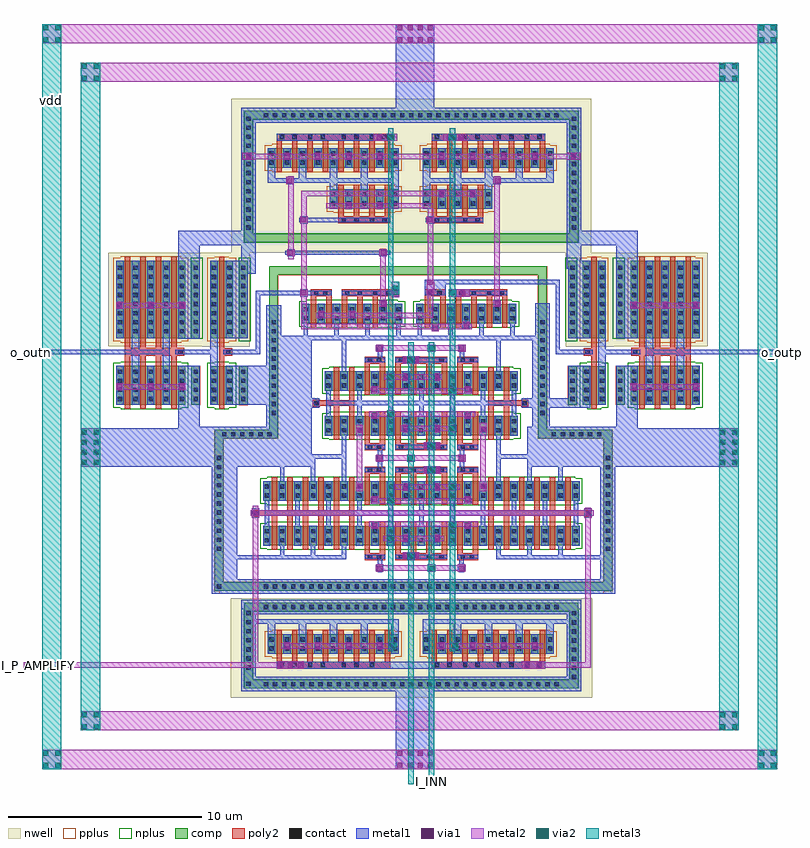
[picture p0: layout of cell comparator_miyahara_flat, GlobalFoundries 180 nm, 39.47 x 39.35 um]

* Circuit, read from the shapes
.subckt comparator_miyahara_flat I_INN I_INP I_P_AMPLIFY gf180mcu_gnd o_outn o_outp vdd
XM1 o_outn n1 gf180mcu_gnd gf180mcu_gnd nfet_03v3 w=2u l=0.28u m=4
XM2 gf180mcu_gnd n2 n1 gf180mcu_gnd nfet_03v3 w=2u l=0.28u
XM3 gf180mcu_gnd I_P_AMPLIFY n3 gf180mcu_gnd nfet_03v3 w=1u l=0.28u m=24
XM4 n4 n2 gf180mcu_gnd gf180mcu_gnd nfet_03v3 w=1u l=0.28u m=2
XM5 gf180mcu_gnd gf180mcu_gnd n3 gf180mcu_gnd nfet_03v3 w=1u l=0.28u m=8
XM6 n4 n5 gf180mcu_gnd gf180mcu_gnd nfet_03v3 w=1u l=0.28u m=2
XM7 n6 I_INN n3 gf180mcu_gnd nfet_03v3 w=1u l=0.28u m=16
XM8 n5 I_INP n3 gf180mcu_gnd nfet_03v3 w=1u l=0.28u m=16
XM9 n7 n5 gf180mcu_gnd gf180mcu_gnd nfet_03v3 w=1u l=0.28u m=2
XM10 n2 n4 gf180mcu_gnd gf180mcu_gnd nfet_03v3 w=1u l=0.28u m=2
XM11 n2 n6 gf180mcu_gnd gf180mcu_gnd nfet_03v3 w=1u l=0.28u m=2
XM12 n8 n6 gf180mcu_gnd gf180mcu_gnd nfet_03v3 w=1u l=0.28u m=2
XM13 n9 n4 gf180mcu_gnd gf180mcu_gnd nfet_03v3 w=2u l=0.28u
XM14 o_outp n9 gf180mcu_gnd gf180mcu_gnd nfet_03v3 w=2u l=0.28u m=4
XM15 o_outn n1 vdd vdd pfet_03v3 w=4u l=0.28u m=4
XM16 vdd n2 n1 vdd pfet_03v3 w=4u l=0.28u
XM17 n5 I_P_AMPLIFY vdd vdd pfet_03v3 w=1u l=0.28u m=8
XM18 vdd n5 n7 vdd pfet_03v3 w=1u l=0.28u m=8
XM19 n4 n2 n7 vdd pfet_03v3 w=1u l=0.28u m=4
XM20 n6 I_P_AMPLIFY vdd vdd pfet_03v3 w=1u l=0.28u m=8
XM21 n2 n4 n8 vdd pfet_03v3 w=1u l=0.28u m=4
XM22 vdd n6 n8 vdd pfet_03v3 w=1u l=0.28u m=8
XM23 n9 n4 vdd vdd pfet_03v3 w=4u l=0.28u
XM24 o_outp n9 vdd vdd pfet_03v3 w=4u l=0.28u m=4
.ends

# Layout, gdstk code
import gdstk
lib = gdstk.Library(unit=1e-6, precision=1e-09)
def R(c, l, rs):  # rectangles x0, y0, x1, y1
    for r in rs: c.add(gdstk.rectangle(r[:2], r[2:], *l))
def A(c, l, x, y, w, h, nx, ny, dx, dy):  # array of equal rectangles
    R(c, l, [(x+i*dx, y+j*dy, x+i*dx+w, y+j*dy+h) for i in range(nx) for j in range(ny)])
nwell = (21, 0)
comp = (22, 0)
poly2 = (30, 0)
pplus = (31, 0)
nplus = (32, 0)
contact = (33, 0)
metal1 = (34, 0)
via1 = (35, 0)
metal2 = (36, 0)
via2 = (38, 0)
metal3 = (42, 0)

comparator_miyahara_flat = lib.new_cell('comparator_miyahara_flat')
R(comparator_miyahara_flat, nwell, [(-13.295,-8.39,5.43,-3.22), (-14.765,9.8,-12.295,9.805), (4.07,9.8,6.54,9.805), (-19.635,9.805,-12.295,14.66), (4.07,9.805,11.41,14.66), (-19.635,14.66,-14.765,14.665), (-13.26,14.66,5.38,22.625), (6.54,14.66,11.41,14.665)])
R(comparator_miyahara_flat, comp, [(-12.59,-7.885,4.7,-7.445), (-12.59,-7.445,-12.15,-3.905), (4.26,-7.445,4.7,-3.905), (-11.355,-6.105,-4.595,-5.105), (-3.33,-6.105,3.43,-5.105), (-12.59,-3.905,4.7,-3.465), (-14.115,-2.84,6.465,-2.4), (-14.115,-2.4,-13.675,5.04), (6.025,-2.4,6.465,5.04), (-11.6,-0.5,4.76,0.5), (-11.6,1.82,4.76,2.82), (-14.115,5.04,-10.845,5.48), (2.63,5.04,6.465,5.48), (-8.4,5.195,1.56,6.195), (-11.285,5.48,-10.845,13.505), (2.63,5.48,3.07,13.505), (-14.335,6.79,-13.175,8.79), (-12.855,6.79,-12.415,8.79), (4.19,6.79,4.63,8.79), (4.95,6.79,6.11,8.79), (-19.205,6.795,-15.645,8.795), (-15.325,6.795,-14.885,8.795), (6.66,6.795,7.1,8.795), (7.42,6.795,10.98,8.795), (-8.4,7.515,1.56,8.515), (-14.335,10.23,-13.175,14.23), (-12.855,10.23,-12.415,14.23), (4.19,10.23,4.63,14.23), (4.95,10.23,6.11,14.23), (-19.205,10.235,-15.645,14.235), (-15.325,10.235,-14.885,14.235), (6.66,10.235,7.1,14.235), (7.42,10.235,10.98,14.235), (-9.585,10.995,-4.425,11.995), (-3.68,10.995,1.48,11.995), (-11.285,13.505,3.07,13.945), (-12.59,15.205,4.7,15.645), (-12.59,15.645,-12.15,21.56), (4.26,15.645,4.7,21.56), (-8.155,16.945,-4.595,17.945), (-3.33,16.945,0.23,17.945), (-11.355,19.06,-4.595,20.06), (-3.33,19.06,3.43,20.06), (-12.59,21.56,4.7,22)])
A(comparator_miyahara_flat, poly2, -10.915, -6.51, 0.28, 1.625, 8, 2, 0.8, 25.35)
A(comparator_miyahara_flat, poly2, -2.89, -6.51, 0.28, 1.625, 8, 2, 0.8, 25.35)
A(comparator_miyahara_flat, poly2, -6.36, -0.905, 0.28, 1.625, 8, 2, 0.8, 2.505)
A(comparator_miyahara_flat, poly2, -11.16, -0.72, 0.28, 1.755, 6, 1, 0.8, 0)
A(comparator_miyahara_flat, poly2, 0.04, -0.72, 0.28, 1.755, 6, 1, 0.8, 0)
A(comparator_miyahara_flat, poly2, -11.16, 1.315, 0.28, 1.725, 6, 1, 0.8, 0)
A(comparator_miyahara_flat, poly2, 0.04, 1.315, 0.28, 1.725, 6, 1, 0.8, 0)
A(comparator_miyahara_flat, poly2, -6.36, 4.79, 0.28, 1.625, 8, 2, 0.8, 2.505)
A(comparator_miyahara_flat, poly2, -18.765, 6.575, 0.28, 2.75, 4, 1, 0.8, 0)
A(comparator_miyahara_flat, poly2, 7.86, 6.575, 0.28, 2.75, 4, 1, 0.8, 0)
A(comparator_miyahara_flat, poly2, -18.765, 9.725, 0.28, 4.73, 4, 1, 0.8, 0)
A(comparator_miyahara_flat, poly2, 7.86, 9.725, 0.28, 4.73, 4, 1, 0.8, 0)
A(comparator_miyahara_flat, poly2, -9.145, 10.775, 0.28, 1.625, 6, 1, 0.8, 0)
A(comparator_miyahara_flat, poly2, -3.24, 10.775, 0.28, 1.625, 6, 1, 0.8, 0)
A(comparator_miyahara_flat, poly2, -7.715, 16.54, 0.28, 1.625, 4, 1, 0.8, 0)
A(comparator_miyahara_flat, poly2, -2.89, 16.54, 0.28, 1.625, 4, 1, 0.8, 0)
R(comparator_miyahara_flat, poly2, [(-10.915,-6.87,-5.035,-6.51), (-2.89,-6.87,2.99,-6.51), (-6.36,-1.265,-5.28,-0.905), (-4.76,-1.265,-2.08,-0.905), (-1.56,-1.265,-0.48,-0.905), (-12.18,0.995,-11.82,1.035), (5.035,0.995,5.395,1.035), (-12.18,1.035,-6.88,1.315), (0.04,1.035,5.395,1.315), (-12.18,1.315,-11.82,1.355), (5.035,1.315,5.395,1.355), (-6.36,3.225,-5.28,3.585), (-4.76,3.225,-2.08,3.585), (-1.56,3.225,-0.48,3.585), (-6.36,4.43,-5.28,4.79), (-4.76,4.43,-2.08,4.79), (-1.56,4.43,-0.48,4.79), (-7.96,4.975,-7.68,6.73), (-7.16,4.975,-6.88,6.73), (0.04,4.975,0.32,6.73), (0.84,4.975,1.12,6.73), (-13.895,6.57,-13.615,9.32), (5.39,6.57,5.67,9.32), (-9.04,6.69,-8.68,6.73), (1.76,6.69,2.12,6.73), (-9.04,6.73,-6.88,7.01), (0.04,6.73,2.12,7.01), (-9.04,7.01,-8.68,7.05), (-7.96,7.01,-7.68,8.735), (-7.16,7.01,-6.88,8.735), (0.04,7.01,0.32,8.735), (0.84,7.01,1.12,8.735), (1.76,7.01,2.12,7.05), (-6.36,8.92,-5.28,9.28), (-4.76,8.92,-2.08,9.28), (-1.56,8.92,-0.48,9.28), (-13.895,9.32,-13.215,9.72), (4.99,9.32,5.67,9.72), (-18.765,9.325,-15.685,9.725), (7.46,9.325,10.54,9.725), (-13.895,9.72,-13.615,14.45), (5.39,9.72,5.67,14.45), (-9.145,12.4,-8.065,12.76), (-7.545,12.4,-4.865,12.76), (-3.24,12.4,-2.16,12.76), (-1.64,12.4,1.04,12.76), (-7.715,16.18,-5.035,16.54), (-2.89,16.18,-0.21,16.54), (-10.915,20.465,-5.035,20.825), (-2.89,20.465,2.99,20.825)])
R(comparator_miyahara_flat, pplus, [(-11.145,-6.335,-4.805,-6.265), (-3.12,-6.335,3.22,-6.265), (-11.515,-6.265,-4.435,-4.945), (-3.49,-6.265,3.59,-4.945), (-11.145,-4.945,-4.805,-4.875), (-3.12,-4.945,3.22,-4.875), (-13.885,-3,6.02,-2.86), (-14.135,-2.86,6.485,-2.38), (-14.135,-2.38,-13.655,5.02), (6.005,-2.38,6.485,5.02), (-14.135,5.02,-10.825,5.5), (2.61,5.02,6.485,5.5), (-11.305,5.5,-10.825,13.485), (2.61,5.5,3.09,13.485), (-12.875,6.77,-12.395,8.81), (4.17,6.77,4.65,8.81), (-15.345,6.775,-14.865,8.815), (6.64,6.775,7.12,8.815), (-14.125,10,-13.385,10.07), (5.16,10,5.9,10.07), (-18.995,10.005,-15.855,10.075), (7.63,10.005,10.77,10.075), (-14.495,10.07,-13.015,14.39), (4.79,10.07,6.27,14.39), (-19.365,10.075,-15.485,14.395), (7.26,10.075,11.14,14.395), (-11.305,13.485,3.09,13.965), (-14.125,14.39,-13.385,14.46), (5.16,14.39,5.9,14.46), (-18.995,14.395,-15.855,14.465), (7.63,14.395,10.77,14.465), (-7.945,16.715,-4.805,16.785), (-3.12,16.715,0.02,16.785), (-8.315,16.785,-4.435,18.105), (-3.49,16.785,0.39,18.105), (-7.945,18.105,-4.805,18.175), (-3.12,18.105,0.02,18.175), (-11.145,18.83,-4.805,18.9), (-3.12,18.83,3.22,18.9), (-11.515,18.9,-4.435,20.22), (-3.49,18.9,3.59,20.22), (-11.145,20.22,-4.805,20.29), (-3.12,20.22,3.22,20.29)])
R(comparator_miyahara_flat, nplus, [(-12.61,-7.905,4.72,-7.425), (-12.61,-7.425,-12.13,-3.925), (4.24,-7.425,4.72,-3.925), (-12.61,-3.925,4.72,-3.81), (-12.75,-3.81,4.86,-3.305), (-11.39,-0.73,4.55,-0.66), (-11.76,-0.66,4.92,0.66), (-11.39,0.66,4.55,0.73), (-11.39,1.59,4.55,1.66), (-11.76,1.66,4.92,2.98), (-11.39,2.98,4.55,3.05), (-8.19,4.965,1.35,5.035), (-8.56,5.035,1.72,6.355), (-8.19,6.355,1.35,6.425), (-14.125,6.56,-13.385,6.63), (5.16,6.56,5.9,6.63), (-18.995,6.565,-15.855,6.635), (7.63,6.565,10.77,6.635), (-14.495,6.63,-13.015,8.95), (4.79,6.63,6.27,8.95), (-19.365,6.635,-15.485,8.955), (7.26,6.635,11.14,8.955), (-8.19,7.285,1.35,7.355), (-8.56,7.355,1.72,8.675), (-8.19,8.675,1.35,8.745), (-14.125,8.95,-13.385,9.02), (5.16,8.95,5.9,9.02), (-18.995,8.955,-15.855,9.025), (7.63,8.955,10.77,9.025), (-12.885,10.07,-12.255,14.39), (4.03,10.07,4.66,14.39), (6.5,10.21,7.12,14.07), (-15.35,10.215,-14.725,14.07), (-9.375,10.765,-4.635,10.835), (-3.47,10.765,1.27,10.835), (-9.745,10.835,-4.265,12.155), (-3.84,10.835,1.64,12.155), (-9.375,12.155,-4.635,12.225), (-3.47,12.155,1.27,12.225), (-15.35,14.07,-14.725,14.395), (6.5,14.07,7.12,14.395), (-12.61,15.185,4.72,15.665), (-12.61,15.665,-12.13,21.54), (4.24,15.665,4.72,21.54), (-12.61,21.54,4.72,22.02)])
A(comparator_miyahara_flat, contact, -11.57, -7.79, 0.22, 0.22, 33, 2, 0.47, 3.99)
A(comparator_miyahara_flat, contact, 4.37, -7.415, 0.22, 0.22, 1, 8, 0, 0.47)
A(comparator_miyahara_flat, contact, -12.48, -6.93, 0.22, 0.22, 1, 7, 0, 0.47)
A(comparator_miyahara_flat, contact, -11.285, -5.95, 0.22, 0.22, 9, 2, 0.8, 0.47)
A(comparator_miyahara_flat, contact, -3.26, -5.95, 0.22, 0.22, 9, 2, 0.8, 0.47)
A(comparator_miyahara_flat, contact, -11.57, -2.73, 0.22, 0.22, 33, 2, 0.47, 24.4)
A(comparator_miyahara_flat, contact, -14.01, -0.785, 0.22, 0.22, 1, 11, 0, 0.47)
A(comparator_miyahara_flat, contact, 6.135, -0.785, 0.22, 0.22, 1, 11, 0, 0.47)
A(comparator_miyahara_flat, contact, -11.53, -0.345, 0.22, 0.22, 21, 2, 0.8, 0.47)
A(comparator_miyahara_flat, contact, -11.53, 1.975, 0.22, 0.22, 21, 2, 0.8, 0.47)
A(comparator_miyahara_flat, contact, -13.74, 5.145, 0.22, 0.22, 6, 1, 0.47, 0)
A(comparator_miyahara_flat, contact, 3.33, 5.145, 0.22, 0.22, 6, 1, 0.47, 0)
A(comparator_miyahara_flat, contact, -8.33, 5.35, 0.22, 0.22, 13, 2, 0.8, 0.47)
A(comparator_miyahara_flat, contact, -11.165, 6.25, 0.22, 0.22, 1, 11, 0, 0.47)
A(comparator_miyahara_flat, contact, 2.74, 6.25, 0.22, 0.22, 1, 11, 0, 0.47)
A(comparator_miyahara_flat, contact, -14.265, 6.975, 0.22, 0.22, 1, 4, 0, 0.47)
A(comparator_miyahara_flat, contact, -13.465, 6.975, 0.22, 0.22, 1, 4, 0, 0.47)
A(comparator_miyahara_flat, contact, -12.745, 6.975, 0.22, 0.22, 1, 4, 0, 0.47)
A(comparator_miyahara_flat, contact, 4.3, 6.975, 0.22, 0.22, 1, 4, 0, 0.47)
A(comparator_miyahara_flat, contact, 5.02, 6.975, 0.22, 0.22, 1, 4, 0, 0.47)
A(comparator_miyahara_flat, contact, 5.82, 6.975, 0.22, 0.22, 1, 4, 0, 0.47)
A(comparator_miyahara_flat, contact, -19.135, 6.98, 0.22, 0.22, 5, 4, 0.8, 0.47)
A(comparator_miyahara_flat, contact, -15.215, 6.98, 0.22, 0.22, 1, 4, 0, 0.47)
A(comparator_miyahara_flat, contact, 6.77, 6.98, 0.22, 0.22, 1, 4, 0, 0.47)
A(comparator_miyahara_flat, contact, 7.49, 6.98, 0.22, 0.22, 5, 4, 0.8, 0.47)
A(comparator_miyahara_flat, contact, -8.33, 7.67, 0.22, 0.22, 13, 2, 0.8, 0.47)
A(comparator_miyahara_flat, contact, -14.265, 10.475, 0.22, 0.22, 1, 8, 0, 0.47)
A(comparator_miyahara_flat, contact, -13.465, 10.475, 0.22, 0.22, 1, 8, 0, 0.47)
A(comparator_miyahara_flat, contact, -12.745, 10.475, 0.22, 0.22, 1, 8, 0, 0.47)
A(comparator_miyahara_flat, contact, 4.3, 10.475, 0.22, 0.22, 1, 8, 0, 0.47)
A(comparator_miyahara_flat, contact, 5.02, 10.475, 0.22, 0.22, 1, 8, 0, 0.47)
A(comparator_miyahara_flat, contact, 5.82, 10.475, 0.22, 0.22, 1, 8, 0, 0.47)
A(comparator_miyahara_flat, contact, -19.135, 10.48, 0.22, 0.22, 5, 8, 0.8, 0.47)
A(comparator_miyahara_flat, contact, -15.215, 10.48, 0.22, 0.22, 1, 8, 0, 0.47)
A(comparator_miyahara_flat, contact, 6.77, 10.48, 0.22, 0.22, 1, 8, 0, 0.47)
A(comparator_miyahara_flat, contact, 7.49, 10.48, 0.22, 0.22, 5, 8, 0.8, 0.47)
A(comparator_miyahara_flat, contact, -9.515, 11.15, 0.22, 0.22, 7, 2, 0.8, 0.47)
A(comparator_miyahara_flat, contact, -3.61, 11.15, 0.22, 0.22, 7, 2, 0.8, 0.47)
A(comparator_miyahara_flat, contact, -12.48, 15.85, 0.22, 0.22, 1, 13, 0, 0.47)
A(comparator_miyahara_flat, contact, 4.375, 15.85, 0.22, 0.22, 1, 13, 0, 0.47)
A(comparator_miyahara_flat, contact, -8.085, 17.1, 0.22, 0.22, 5, 2, 0.8, 0.47)
A(comparator_miyahara_flat, contact, -3.26, 17.1, 0.22, 0.22, 5, 2, 0.8, 0.47)
A(comparator_miyahara_flat, contact, -11.285, 19.215, 0.22, 0.22, 9, 2, 0.8, 0.47)
A(comparator_miyahara_flat, contact, -3.26, 19.215, 0.22, 0.22, 9, 2, 0.8, 0.47)
R(comparator_miyahara_flat, contact, [(-12.48,-7.775,-12.26,-7.555), (-10.74,-6.8,-10.52,-6.58), (-10.09,-6.8,-9.87,-6.58), (-9.285,-6.8,-9.065,-6.58), (-8.64,-6.8,-8.42,-6.58), (-7.54,-6.8,-7.32,-6.58), (-6.89,-6.8,-6.67,-6.58), (-6.085,-6.8,-5.865,-6.58), (-2.715,-6.8,-2.495,-6.58), (-2.065,-6.8,-1.845,-6.58), (-1.26,-6.8,-1.04,-6.58), (-0.615,-6.8,-0.395,-6.58), (0.485,-6.8,0.705,-6.58), (1.135,-6.8,1.355,-6.58), (1.94,-6.8,2.16,-6.58), (2.585,-6.8,2.805,-6.58), (-14.005,-2.73,-13.785,-2.51), (-6.185,-1.195,-5.965,-0.975), (-5.715,-1.195,-5.495,-0.975), (-4.585,-1.195,-4.365,-0.975), (-3.935,-1.195,-3.715,-0.975), (-3.13,-1.195,-2.91,-0.975), (-2.485,-1.195,-2.265,-0.975), (-1.385,-1.195,-1.165,-0.975), (-0.915,-1.195,-0.695,-0.975), (-12.11,1.065,-11.89,1.285), (5.105,1.065,5.325,1.285), (-6.185,3.295,-5.965,3.515), (-5.715,3.295,-5.495,3.515), (-4.585,3.295,-4.365,3.515), (-3.935,3.295,-3.715,3.515), (-3.13,3.295,-2.91,3.515), (-2.485,3.295,-2.265,3.515), (-1.385,3.295,-1.165,3.515), (-0.915,3.295,-0.695,3.515), (-6.185,4.5,-5.965,4.72), (-5.715,4.5,-5.495,4.72), (-4.585,4.5,-4.365,4.72), (-3.13,4.5,-2.91,4.72), (-2.485,4.5,-2.265,4.72), (-1.385,4.5,-1.165,4.72), (-0.915,4.5,-0.695,4.72), (-8.97,6.76,-8.75,6.98), (1.83,6.76,2.05,6.98), (-6.185,8.99,-5.965,9.21), (-5.715,8.99,-5.495,9.21), (-4.585,8.99,-4.365,9.21), (-3.935,8.99,-3.715,9.21), (-2.485,8.99,-2.265,9.21), (-1.385,8.99,-1.165,9.21), (-0.915,8.99,-0.695,9.21), (-13.525,9.41,-13.305,9.63), (5.08,9.41,5.3,9.63), (-15.995,9.415,-15.775,9.635), (7.55,9.415,7.77,9.635), (-8.97,12.47,-8.75,12.69), (-8.5,12.47,-8.28,12.69), (-7.37,12.47,-7.15,12.69), (-6.72,12.47,-6.5,12.69), (-5.915,12.47,-5.695,12.69), (-5.27,12.47,-5.05,12.69), (-3.065,12.47,-2.845,12.69), (-2.595,12.47,-2.375,12.69), (-1.465,12.47,-1.245,12.69), (-0.815,12.47,-0.595,12.69), (-0.01,12.47,0.21,12.69), (0.635,12.47,0.855,12.69), (-7.54,16.25,-7.32,16.47), (-6.89,16.25,-6.67,16.47), (-6.085,16.25,-5.865,16.47), (-5.44,16.25,-5.22,16.47), (-2.715,16.25,-2.495,16.47), (-2.065,16.25,-1.845,16.47), (-1.26,16.25,-1.04,16.47), (-0.615,16.25,-0.395,16.47), (-10.74,20.535,-10.52,20.755), (-10.09,20.535,-9.87,20.755), (-9.285,20.535,-9.065,20.755), (-8.64,20.535,-8.42,20.755), (-7.54,20.535,-7.32,20.755), (-6.89,20.535,-6.67,20.755), (-6.085,20.535,-5.865,20.755), (-5.44,20.535,-5.22,20.755), (-2.715,20.535,-2.495,20.755), (-2.065,20.535,-1.845,20.755), (-1.26,20.535,-1.04,20.755), (-0.615,20.535,-0.395,20.755), (0.485,20.535,0.705,20.755), (1.135,20.535,1.355,20.755), (1.94,20.535,2.16,20.755), (2.585,20.535,2.805,20.755)])
A(comparator_miyahara_flat, metal1, -11.365, -6.115, 0.38, 1.56, 5, 2, 1.6, 24.625)
A(comparator_miyahara_flat, metal1, -10.565, -6.115, 0.38, 1.02, 4, 2, 1.6, 25.165)
A(comparator_miyahara_flat, metal1, -3.34, -6.115, 0.38, 1.56, 5, 1, 1.6, 0)
A(comparator_miyahara_flat, metal1, -2.54, -6.115, 0.38, 1.02, 4, 2, 1.6, 25.165)
A(comparator_miyahara_flat, metal1, -5.76, -1.865, 0.38, 0.38, 1, 3, 0, 5.695)
A(comparator_miyahara_flat, metal1, -10.735, -0.995, 0.23, 0.485, 3, 1, 1.6, 0)
A(comparator_miyahara_flat, metal1, 0.465, -0.995, 0.23, 0.485, 3, 1, 1.6, 0)
A(comparator_miyahara_flat, metal1, -11.61, -0.51, 0.38, 1.02, 7, 2, 0.8, 2.32)
A(comparator_miyahara_flat, metal1, -5.21, -0.51, 0.38, 1.02, 5, 2, 0.8, 2.32)
A(comparator_miyahara_flat, metal1, -0.41, -0.51, 0.38, 1.02, 7, 2, 0.8, 2.32)
A(comparator_miyahara_flat, metal1, -11.535, 0.51, 0.23, 0.565, 11, 1, 1.6, 0)
A(comparator_miyahara_flat, metal1, -11.535, 1.305, 0.23, 0.505, 11, 1, 1.6, 0)
A(comparator_miyahara_flat, metal1, -8.41, 5.185, 0.38, 1.02, 3, 2, 0.8, 2.32)
A(comparator_miyahara_flat, metal1, -5.21, 5.185, 0.38, 1.02, 5, 2, 0.8, 2.32)
A(comparator_miyahara_flat, metal1, -0.41, 5.185, 0.38, 1.02, 3, 2, 0.8, 2.32)
A(comparator_miyahara_flat, metal1, -8.335, 6.205, 0.23, 0.565, 7, 1, 1.6, 0)
A(comparator_miyahara_flat, metal1, -8.335, 7, 0.23, 0.505, 7, 1, 1.6, 0)
A(comparator_miyahara_flat, metal1, -9.52, 10.365, 0.23, 0.62, 4, 1, 1.6, 0)
A(comparator_miyahara_flat, metal1, -3.615, 10.365, 0.23, 0.62, 4, 1, 1.6, 0)
A(comparator_miyahara_flat, metal1, -9.595, 10.985, 0.38, 1.02, 5, 1, 0.8, 0)
A(comparator_miyahara_flat, metal1, -3.69, 10.985, 0.38, 1.02, 4, 1, 1.6, 0)
A(comparator_miyahara_flat, metal1, -8.165, 16.935, 0.38, 1.345, 3, 1, 1.6, 0)
R(comparator_miyahara_flat, metal1, [(-4.745,-12.075,-2.745,-8.045), (-12.75,-8.045,4.86,-7.285), (-12.75,-7.285,-11.99,-4.555), (4.1,-7.285,4.86,-4.555), (-10.915,-6.87,2.99,-6.51), (-12.75,-4.555,-4.585,-4.325), (-3.34,-4.555,4.86,-4.325), (-12.75,-4.325,-11.99,-4.065), (4.1,-4.325,4.86,-4.065), (-12.75,-4.065,4.86,-3.305), (-14.275,-3,6.625,-2.24), (-14.275,-2.24,-12.94,-1.225), (5.835,-2.24,6.625,-1.225), (-5.685,-1.89,-5.455,-1.865), (-1.45,-1.875,-1.22,-1.865), (-1.525,-1.865,-1.145,-1.485), (-5.685,-1.485,-5.455,-1.2), (-1.45,-1.485,-1.22,-1.2), (-14.275,-1.225,-7.305,-0.995), (-4.37,-1.225,-3.52,-1.2), (0.465,-1.225,6.625,-0.995), (-6.36,-1.2,-5.28,-0.97), (-4.76,-1.2,-2.08,-0.97), (-1.56,-1.2,-0.48,-0.97), (-14.275,-0.995,-12.94,3.585), (5.835,-0.995,6.625,3.58), (-4.37,-0.97,-3.52,-0.845), (-6.01,-0.51,-5.63,0.745), (-1.21,-0.51,-0.83,0.745), (-12.19,0.925,-11.81,1.425), (5.025,0.925,5.405,1.425), (-11.535,1.075,4.695,1.305), (-6.01,1.67,-5.63,2.83), (-1.21,1.67,-0.83,2.83), (-10.735,2.83,-10.505,3.585), (-9.135,2.83,-8.905,3.585), (-7.535,2.83,-7.305,4), (0.465,2.83,0.695,4), (2.065,2.83,2.295,3.58), (3.665,2.83,3.895,3.58), (-3.295,3.215,-2.445,3.29), (-6.36,3.29,-5.28,3.52), (-4.76,3.29,-2.08,3.52), (-1.56,3.29,-0.48,3.52), (-5.685,3.52,-5.455,3.83), (-3.295,3.52,-2.445,3.595), (-1.43,3.52,-1.2,3.83), (-21.055,3.58,-15.285,3.585), (2.065,3.58,13.005,4), (-21.055,3.585,-8.905,4), (-1.505,3.83,-1.125,4.21), (-21.055,4,-7.305,4.23), (0.465,4,13.005,4.23), (-5.685,4.21,-5.455,4.495), (-1.43,4.21,-1.2,4.495), (-21.055,4.23,-9.095,5.58), (-7.535,4.23,-7.305,5.185), (0.465,4.23,0.695,5.185), (2.065,4.23,13.005,5.58), (-3.295,4.47,-2.445,4.495), (-6.36,4.495,-5.28,4.725), (-4.76,4.495,-2.08,4.725), (-1.56,4.495,-0.48,4.725), (-3.295,4.725,-2.445,4.85), (-6.01,5.185,-5.63,6.44), (-1.21,5.185,-0.83,6.44), (-16.015,5.58,-9.095,5.64), (2.065,5.58,7.79,5.64), (-16.015,5.64,-14.885,8.805), (-11.445,5.64,-9.095,6.62), (2.315,5.64,3.23,6.62), (6.66,5.64,7.79,8.805), (-11.445,6.62,-8.71,6.78), (1.79,6.62,5.32,7.12), (-8.335,6.77,1.495,7), (-14.345,6.78,-13.965,9.41), (-13.545,6.78,-8.71,7.12), (5.74,6.78,6.12,9.41), (-19.215,6.785,-18.835,8.805), (-18.415,6.785,-18.035,9.41), (-17.615,6.785,-17.235,8.805), (-16.815,6.785,-16.435,9.41), (8.21,6.785,8.59,9.41), (9.01,6.785,9.39,8.805), (9.81,6.785,10.19,9.41), (10.61,6.785,10.99,8.805), (-13.545,7.12,-9.095,8.8), (2.315,7.12,3.23,10.135), (4.19,7.12,5.32,8.8), (-6.01,7.365,-5.63,8.525), (-1.21,7.365,-0.83,8.525), (-7.535,8.525,-7.305,10.135), (0.465,8.525,0.695,10.135), (-11.445,8.8,-9.095,10.135), (-4.37,8.91,-3.52,8.985), (-6.36,8.985,-5.28,9.215), (-4.76,8.985,-2.08,9.215), (-1.56,8.985,-0.48,9.215), (-5.685,9.215,-5.455,9.525), (-4.37,9.215,-3.52,9.29), (-1.43,9.215,-1.2,9.525), (-13.535,9.4,-13.295,9.405), (5.07,9.4,5.31,9.405), (-16.005,9.405,-15.765,9.41), (-13.68,9.405,-11.755,9.635), (3.53,9.405,5.455,9.635), (7.54,9.405,7.78,9.41), (-24,9.41,-16.435,9.64), (-16.15,9.41,-13.965,9.64), (5.74,9.41,7.925,9.64), (8.21,9.41,15.47,9.64), (-1.505,9.525,-1.125,9.905), (-13.535,9.635,-13.295,9.64), (-11.985,9.635,-11.755,12.465), (3.53,9.635,3.76,13.035), (5.07,9.635,5.31,9.64), (-18.415,9.64,-18.035,14.245), (-16.815,9.64,-16.435,14.245), (-16.005,9.64,-15.765,9.645), (-14.345,9.64,-13.965,14.24), (5.74,9.64,6.12,14.24), (7.54,9.64,7.78,9.645), (8.21,9.64,8.59,14.245), (9.81,9.64,10.19,14.245), (-11.445,10.135,3.23,10.365), (-16.015,10.21,-14.885,15.045), (-13.545,10.22,-12.415,13.565), (4.19,10.22,5.32,13.835), (-19.215,10.225,-18.835,14.245), (-17.615,10.225,-17.235,14.245), (6.66,10.225,7.79,15.045), (9.01,10.225,9.39,14.245), (10.61,10.225,10.99,14.245), (-11.445,10.365,-10.685,11.94), (2.47,10.365,3.23,12.05), (-2.89,10.595,-2.51,12.005), (-1.29,10.695,-0.91,12.005), (-5.595,10.985,-5.215,12.2), (-4.795,10.985,-4.415,12.005), (0.31,10.985,0.69,12.2), (-9.685,12.39,-9.305,12.465), (-4.955,12.39,-4.575,12.465), (-1.64,12.39,-0.91,12.465), (-11.985,12.465,-8.065,12.695), (-7.545,12.465,-4.56,12.695), (-3.24,12.465,-2.16,13.035), (-1.64,12.465,1.04,12.695), (-9.685,12.695,-9.305,12.77), (-4.955,12.695,-4.575,12.77), (-1.64,12.695,-0.91,12.77), (-3.24,13.035,3.76,13.265), (-13.545,13.565,-11.99,14.24), (4.1,13.835,5.32,14.24), (-12.75,14.24,-11.99,15.045), (4.1,14.24,4.86,15.045), (-10.365,14.465,-9.985,14.54), (-5.59,14.465,-5.21,14.54), (-10.475,14.54,-5.035,14.77), (-10.365,14.77,-9.985,14.845), (-5.59,14.77,-5.21,14.845), (-16.015,15.045,-11.99,15.805), (4.1,15.045,7.79,15.805), (-12.75,15.805,-11.99,21.4), (4.1,15.805,4.86,21.4), (-9.685,16.17,-9.305,16.245), (-3.14,16.17,-2.76,16.245), (-9.74,16.245,-5.035,16.475), (-3.195,16.245,-0.21,16.475), (-9.685,16.475,-9.305,16.55), (-3.14,16.475,-2.76,16.55), (-7.365,16.935,-6.985,17.955), (-5.765,16.935,-5.385,17.955), (-3.34,16.935,-2.96,18.28), (-2.54,16.935,-2.16,17.955), (-1.74,16.935,-1.36,18.28), (-0.94,16.935,-0.56,17.955), (-0.14,16.935,0.24,18.205), (-10.415,18.205,-10.035,18.28), (-0.14,18.205,0.695,18.28), (-11.365,18.28,-4.585,18.51), (-3.34,18.28,3.44,18.51), (-10.415,18.51,-10.035,18.585), (-3.34,18.51,-2.96,20.07), (-1.74,18.51,-1.36,20.07), (-0.14,18.51,0.695,18.585), (1.46,18.51,1.84,20.07), (3.06,18.51,3.44,20.07), (-0.14,18.585,0.24,20.07), (-10.915,20.465,-4.67,20.825), (-2.89,20.465,2.99,20.825), (-12.75,21.4,4.86,22.16), (-4.745,22.16,-2.745,26.5)])
A(comparator_miyahara_flat, via1, -4.655, -12.015, 0.26, 0.26, 4, 2, 0.52, 0.62)
A(comparator_miyahara_flat, via1, -10.865, -6.825, 0.26, 0.26, 3, 1, 0.52, 0)
A(comparator_miyahara_flat, via1, -10.505, -5.825, 0.26, 0.26, 4, 2, 1.6, 25.345)
A(comparator_miyahara_flat, via1, -2.48, -5.825, 0.26, 0.26, 4, 2, 1.6, 25.345)
A(comparator_miyahara_flat, via1, -5.7, -1.805, 0.26, 0.26, 1, 3, 0, 5.695)
A(comparator_miyahara_flat, via1, -20.995, 3.67, 0.26, 0.26, 1, 4, 0, 0.52)
A(comparator_miyahara_flat, via1, -20.375, 3.67, 0.26, 0.26, 1, 4, 0, 0.52)
A(comparator_miyahara_flat, via1, 12.065, 3.67, 0.26, 0.26, 1, 4, 0, 0.52)
A(comparator_miyahara_flat, via1, 12.685, 3.67, 0.26, 0.26, 1, 4, 0, 0.52)
A(comparator_miyahara_flat, via1, -19.155, 7.585, 0.26, 0.26, 3, 2, 1.6, 4.22)
A(comparator_miyahara_flat, via1, 7.47, 7.585, 0.26, 0.26, 3, 2, 1.6, 4.22)
A(comparator_miyahara_flat, via1, -4.655, 25.56, 0.26, 0.26, 4, 2, 0.52, 0.62)
R(comparator_miyahara_flat, via1, [(1.945,-6.825,2.205,-6.565), (2.565,-6.825,2.825,-6.565), (-1.465,-1.805,-1.205,-1.545), (-4.335,-1.165,-4.075,-0.905), (-3.815,-1.165,-3.555,-0.905), (-4.35,-0.26,-4.09,0), (-2.75,-0.26,-2.49,0), (-5.95,0.425,-5.69,0.685), (-1.15,0.425,-0.89,0.685), (-12.13,1.045,-11.87,1.305), (5.085,1.045,5.345,1.305), (-5.95,1.73,-5.69,1.99), (-1.15,1.73,-0.89,1.99), (-4.35,2.39,-4.09,2.65), (-2.75,2.39,-2.49,2.65), (-6.75,2.445,-6.49,2.705), (-0.35,2.445,-0.09,2.705), (-3.26,3.275,-3,3.535), (-2.74,3.275,-2.48,3.535), (-1.445,3.89,-1.185,4.15), (-3.26,4.53,-3,4.79), (-2.74,4.53,-2.48,4.79), (-6.75,5.34,-6.49,5.6), (-0.35,5.385,-0.09,5.645), (-4.35,5.435,-4.09,5.695), (-2.75,5.435,-2.49,5.695), (-5.95,6.12,-5.69,6.38), (-1.15,6.12,-0.89,6.38), (-5.95,7.425,-5.69,7.685), (-1.15,7.425,-0.89,7.685), (-4.35,8.085,-4.09,8.345), (-2.75,8.085,-2.49,8.345), (-4.335,8.97,-4.075,9.23), (-3.815,8.97,-3.555,9.23), (-1.445,9.585,-1.185,9.845), (-2.83,10.655,-2.57,10.915), (-1.23,10.755,-0.97,11.015), (-8.735,11.335,-8.475,11.595), (-7.135,11.335,-6.875,11.595), (-5.53,11.895,-5.27,12.155), (0.375,11.895,0.635,12.155), (-9.625,12.45,-9.365,12.71), (-4.895,12.45,-4.635,12.71), (-1.405,12.45,-1.145,12.71), (-3.08,12.475,-2.82,12.735), (-3.08,12.995,-2.82,13.255), (-10.305,14.525,-10.045,14.785), (-5.53,14.525,-5.27,14.785), (-9.625,16.23,-9.365,16.49), (-3.08,16.23,-2.82,16.49), (-7.305,16.96,-7.045,17.22), (-5.705,16.96,-5.445,17.22), (-2.48,17.6,-2.22,17.86), (-0.88,17.6,-0.62,17.86), (-10.355,18.265,-10.095,18.525), (0.375,18.265,0.635,18.525), (-12.475,19.52,-12.215,19.78), (4.325,19.52,4.585,19.78), (-5.73,20.515,-5.47,20.775), (-5.11,20.515,-4.85,20.775), (-2.115,20.515,-1.855,20.775), (-1.495,20.515,-1.235,20.775)])
A(comparator_miyahara_flat, metal2, -10.565, -5.885, 0.38, 0.05, 4, 2, 1.6, 0.33)
A(comparator_miyahara_flat, metal2, -0.94, -5.885, 0.38, 0.05, 3, 2, 1.6, 0.33)
A(comparator_miyahara_flat, metal2, -19.215, 7.525, 0.38, 0.05, 3, 2, 1.6, 0.33)
A(comparator_miyahara_flat, metal2, 7.41, 7.525, 0.38, 0.05, 3, 2, 1.6, 0.33)
A(comparator_miyahara_flat, metal2, -19.215, 11.745, 0.38, 0.05, 3, 2, 1.6, 0.33)
A(comparator_miyahara_flat, metal2, 7.41, 11.745, 0.38, 0.05, 3, 2, 1.6, 0.33)
A(comparator_miyahara_flat, metal2, -10.565, 19.46, 0.38, 0.05, 4, 2, 1.6, 0.33)
A(comparator_miyahara_flat, metal2, -2.54, 19.46, 0.38, 0.05, 4, 2, 1.6, 0.33)
R(comparator_miyahara_flat, metal2, [(-23.055,-12.075,15.005,-11.075), (-21.055,-10.075,13.005,-9.075), (-10.915,-6.885,-9.515,-6.835), (1.78,-6.885,2.99,-6.835), (-24,-6.835,-9.515,-6.555), (1.78,-6.835,5.355,-6.555), (-12.14,-6.555,-11.86,0.925), (-10.915,-6.555,-9.515,-6.505), (1.78,-6.555,2.99,-6.505), (5.075,-6.555,5.355,0.925), (-5.105,-5.885,-4.725,-5.835), (-2.54,-5.885,-2.16,-5.835), (-1.88,-5.885,-1.5,-5.835), (-10.705,-5.835,-4.725,-5.555), (-2.63,-5.835,2.905,-5.555), (-5.105,-5.555,-4.725,-5.505), (-2.54,-5.555,-2.16,-5.505), (-1.88,-5.555,-1.5,-5.505), (-5.76,-1.865,-5.38,-1.815), (-3.075,-1.865,-2.695,-1.815), (-1.525,-1.865,-1.145,-1.815), (-5.77,-1.815,-1.125,-1.535), (-5.76,-1.535,-5.38,-1.485), (-3.075,-1.535,-2.695,-1.485), (-1.525,-1.535,-1.145,-1.485), (-4.15,-1.255,-3.77,-1.225), (-4.37,-1.225,-3.515,-0.945), (-4.37,-0.945,-3.52,-0.845), (-5.195,-0.32,-4.815,-0.27), (-4.41,-0.32,-4.03,-0.27), (-2.81,-0.32,-2.43,-0.27), (-5.385,-0.27,-2.24,0.01), (-5.195,0.01,-4.815,0.06), (-4.41,0.01,-4.03,0.06), (-2.81,0.01,-2.43,0.06), (-6.01,0.365,-5.63,0.465), (-2,0.365,-1.62,0.465), (-1.21,0.365,-0.83,0.465), (-6.11,0.465,-0.5,0.745), (-12.19,0.925,-11.81,1.035), (5.025,0.925,5.405,1.035), (-12.25,1.035,5.51,1.315), (-12.19,1.315,-11.81,1.425), (5.025,1.315,5.405,1.425), (-12.14,1.425,-11.86,1.55), (5.075,1.425,5.355,1.465), (-5.195,1.62,-4.815,1.67), (-6.03,1.67,-0.785,1.95), (-6.01,1.95,-5.63,2.05), (-5.195,1.95,-4.815,2), (-1.21,1.95,-0.83,2.05), (-6.81,2.32,-6.43,2.83), (-0.41,2.32,-0.03,2.83), (-4.41,2.33,-4.03,2.38), (-2.81,2.33,-2.43,2.38), (-2,2.33,-1.62,2.38), (-4.795,2.38,-1.41,2.66), (-4.41,2.66,-4.03,2.71), (-2.81,2.66,-2.43,2.71), (-2,2.66,-1.62,2.71), (-6.76,2.83,-6.48,5.19), (-0.36,2.83,-0.08,5.185), (-3.295,3.215,-2.445,3.28), (-3.295,3.28,-2.44,3.56), (-3.295,3.56,-2.445,3.595), (-21.055,3.58,-20.055,5.58), (12.005,3.58,13.005,5.58), (-5.76,3.83,-5.38,3.88), (-4.15,3.83,-3.77,3.88), (-1.505,3.83,-1.125,3.88), (-5.78,3.88,-1.125,4.16), (-5.76,4.16,-5.38,4.21), (-4.15,4.16,-3.77,4.21), (-1.505,4.16,-1.125,4.21), (-3.075,4.44,-2.695,4.47), (-3.295,4.47,-2.44,4.75), (-3.295,4.75,-2.445,4.85), (-0.41,5.185,-0.03,5.845), (-6.81,5.19,-6.43,5.76), (-4.41,5.375,-4.03,5.425), (-2.81,5.375,-2.43,5.425), (-2,5.375,-1.62,5.425), (-4.485,5.425,-1.58,5.705), (-4.41,5.705,-4.03,5.755), (-2.81,5.705,-2.43,5.755), (-2,5.705,-1.62,5.755), (-6.01,6.06,-5.63,6.16), (-1.21,6.06,-0.83,6.16), (-5.195,6.11,-4.815,6.16), (-6.11,6.16,-0.62,6.44), (-5.195,6.44,-4.815,6.49), (-2,7.315,-1.62,7.365), (-6.03,7.365,-0.785,7.645), (-19.215,7.575,-15.635,7.855), (7.41,7.575,10.99,7.855), (-6.01,7.645,-5.63,7.745), (-2,7.645,-1.62,7.695), (-1.21,7.645,-0.83,7.745), (-5.195,8.025,-4.815,8.075), (-4.41,8.025,-4.03,8.075), (-2.81,8.025,-2.43,8.075), (-5.36,8.075,-2.33,8.355), (-5.195,8.355,-4.815,8.405), (-4.41,8.355,-4.03,8.405), (-2.81,8.355,-2.43,8.405), (-4.37,8.91,-3.52,8.975), (-4.37,8.975,-3.515,9.255), (-4.37,9.255,-3.52,9.29), (-5.76,9.525,-5.38,9.575), (-3.075,9.525,-2.695,9.575), (-1.505,9.525,-1.125,9.575), (-5.78,9.575,-1.125,9.855), (-5.76,9.855,-5.38,9.905), (-3.075,9.855,-2.695,9.905), (-1.505,9.855,-1.125,9.905), (-2.89,10.595,-2.51,10.695), (-9.635,10.695,-0.8,10.975), (-9.635,10.975,-9.355,12.39), (-1.29,10.975,-0.91,11.075), (-8.895,11.275,-2.81,11.555), (-8.795,11.555,-8.415,11.655), (-7.195,11.555,-6.815,11.655), (-3.09,11.555,-2.81,12.465), (-19.215,11.795,-15.635,12.075), (7.41,11.795,10.99,12.075), (-5.59,11.85,-5.21,12.2), (0.315,11.85,0.695,12.2), (-5.54,12.2,-5.26,14.465), (0.365,12.2,0.645,18.205), (-4.955,12.355,-4.575,13.155), (-2,12.385,-1.62,12.39), (-9.685,12.39,-9.305,12.77), (-2,12.39,-0.91,12.765), (-3.14,12.465,-2.76,13.265), (-1.64,12.765,-0.91,12.77), (-9.635,12.77,-9.355,16.17), (-3.09,13.265,-2.81,16.17), (-10.315,14.315,-10.035,14.465), (-10.365,14.465,-9.985,14.845), (-5.59,14.465,-5.21,14.845), (-10.315,14.845,-10.035,18.205), (-5.54,14.845,-5.26,14.875), (-9.685,16.17,-9.305,16.55), (-3.14,16.17,-2.76,16.55), (-9.635,16.55,-9.355,17.59), (-3.09,16.55,-2.81,16.95), (-7.365,16.9,-6.985,16.95), (-5.765,16.9,-5.385,16.95), (-8.345,16.95,-2.81,17.23), (-7.365,17.23,-6.985,17.28), (-5.765,17.23,-5.385,17.28), (-2.54,17.54,-2.16,17.59), (-0.94,17.54,-0.56,17.59), (-9.635,17.59,-0.255,17.87), (-2.54,17.87,-2.16,17.92), (-0.94,17.87,-0.56,17.92), (-10.415,18.205,-10.035,18.585), (0.315,18.205,0.695,18.585), (-10.315,18.585,-10.035,18.605), (0.365,18.585,0.645,18.62), (-12.695,19.46,-11.995,19.51), (4.1,19.46,4.81,19.51), (-12.695,19.51,4.81,19.79), (-12.695,19.79,-11.995,19.84), (4.1,19.79,4.81,19.84), (-5.91,20.465,-4.67,20.825), (-2.275,20.465,-1.07,20.825), (-21.055,23.5,13.005,24.5), (-23.055,25.5,15.005,26.5)])
A(comparator_miyahara_flat, via2, -20.995, 3.67, 0.26, 0.26, 1, 4, 0, 0.52)
A(comparator_miyahara_flat, via2, -20.375, 3.67, 0.26, 0.26, 1, 4, 0, 0.52)
A(comparator_miyahara_flat, via2, 12.065, 3.67, 0.26, 0.26, 1, 4, 0, 0.52)
A(comparator_miyahara_flat, via2, 12.685, 3.67, 0.26, 0.26, 1, 4, 0, 0.52)
R(comparator_miyahara_flat, via2, [(-22.995,-12.015,-22.735,-11.755), (-22.375,-12.015,-22.115,-11.755), (14.065,-12.015,14.325,-11.755), (14.685,-12.015,14.945,-11.755), (-22.995,-11.395,-22.735,-11.135), (-22.375,-11.395,-22.115,-11.135), (14.065,-11.395,14.325,-11.135), (14.685,-11.395,14.945,-11.135), (-20.995,-10.015,-20.735,-9.755), (-20.375,-10.015,-20.115,-9.755), (12.065,-10.015,12.325,-9.755), (12.685,-10.015,12.945,-9.755), (-20.995,-9.395,-20.735,-9.135), (-20.375,-9.395,-20.115,-9.135), (12.065,-9.395,12.325,-9.135), (12.685,-9.395,12.945,-9.135), (-5.045,-5.825,-4.785,-5.565), (-1.82,-5.825,-1.56,-5.565), (-3.015,-1.805,-2.755,-1.545), (-4.09,-1.195,-3.83,-0.935), (-5.135,-0.26,-4.875,0), (-1.94,0.425,-1.68,0.685), (-5.135,1.68,-4.875,1.94), (-1.94,2.39,-1.68,2.65), (-3.015,3.275,-2.755,3.535), (-4.09,3.89,-3.83,4.15), (-3.015,4.5,-2.755,4.76), (-1.94,5.435,-1.68,5.695), (-5.135,6.17,-4.875,6.43), (-1.94,7.375,-1.68,7.635), (-5.135,8.085,-4.875,8.345), (-4.09,8.97,-3.83,9.23), (-3.015,9.585,-2.755,9.845), (-1.94,12.445,-1.68,12.705), (-4.895,12.68,-4.635,12.94), (-5.135,20.515,-4.875,20.775), (-1.94,20.515,-1.68,20.775), (-20.995,23.56,-20.735,23.82), (-20.375,23.56,-20.115,23.82), (12.065,23.56,12.325,23.82), (12.685,23.56,12.945,23.82), (-20.995,24.18,-20.735,24.44), (-20.375,24.18,-20.115,24.44), (12.065,24.18,12.325,24.44), (12.685,24.18,12.945,24.44), (-22.995,25.56,-22.735,25.82), (-22.375,25.56,-22.115,25.82), (14.065,25.56,14.325,25.82), (14.685,25.56,14.945,25.82), (-22.995,26.18,-22.735,26.44), (-22.375,26.18,-22.115,26.44), (14.065,26.18,14.325,26.44), (14.685,26.18,14.945,26.44)])
R(comparator_miyahara_flat, metal3, [(-4.1,-12.85,-3.82,-1.255), (-3.025,-12.85,-2.745,-1.865), (-23.055,-12.075,-22.055,26.5), (14.005,-12.075,15.005,26.5), (-21.055,-10.075,-20.055,24.5), (12.005,-10.075,13.005,24.5), (-1.95,-5.98,-1.67,-5.885), (-5.145,-5.975,-4.865,-5.885), (-5.145,-5.885,-4.725,-5.505), (-1.95,-5.885,-1.5,-5.505), (-5.145,-5.505,-4.865,-0.32), (-1.95,-5.505,-1.67,0.365), (-3.075,-1.865,-2.695,-1.485), (-3.025,-1.485,-2.745,3.215), (-4.15,-1.255,-3.77,-0.875), (-4.1,-0.875,-3.82,3.83), (-5.195,-0.32,-4.815,0.06), (-5.145,0.06,-4.865,1.62), (-2,0.365,-1.62,0.745), (-1.95,0.745,-1.67,2.33), (-5.195,1.62,-4.815,2), (-5.145,2,-4.865,6.11), (-2,2.33,-1.62,2.71), (-1.95,2.71,-1.67,5.375), (-3.075,3.215,-2.695,3.595), (-3.025,3.595,-2.745,4.44), (-4.15,3.83,-3.77,4.21), (-4.1,4.21,-3.82,8.91), (-3.075,4.44,-2.695,4.82), (-3.025,4.82,-2.745,9.525), (-2,5.375,-1.62,5.755), (-1.95,5.755,-1.67,7.315), (-5.195,6.11,-4.815,6.49), (-5.145,6.49,-4.865,8.025), (-2,7.315,-1.62,7.695), (-1.95,7.695,-1.67,12.385), (-5.195,8.025,-4.815,8.405), (-5.145,8.405,-4.865,12.47), (-4.15,8.91,-3.77,9.29), (-4.1,9.29,-3.82,10.025), (-3.075,9.525,-2.695,9.905), (-3.025,9.905,-2.745,10.035), (-2,12.385,-1.62,12.765), (-5.145,12.47,-4.575,13.155), (-1.95,12.765,-1.67,20.465), (-5.145,13.155,-4.865,20.465), (-5.195,20.465,-4.815,20.825), (-2,20.465,-1.62,20.825), (-5.145,20.825,-4.865,21.105), (-1.95,20.825,-1.67,21.095)])
comparator_miyahara_flat.add(gdstk.Label('o_outn', (-23.595,9.505), layer=34, texttype=10))
comparator_miyahara_flat.add(gdstk.Label('o_outp', (15.295,9.505), layer=34, texttype=10))
comparator_miyahara_flat.add(gdstk.Label('o_outp', (15.295,9.505), layer=34, texttype=10))
comparator_miyahara_flat.add(gdstk.Label('vdd', (-22.555,22.555), layer=42, texttype=10))
comparator_miyahara_flat.add(gdstk.Label('I_INN', (-2.875,-12.695), layer=42, texttype=10))
comparator_miyahara_flat.add(gdstk.Label('I_INP', (-3.955,-12.7), layer=42, texttype=10))
comparator_miyahara_flat.add(gdstk.Label('gf180mcu_gnd', (-20.53,22.555), layer=42, texttype=10))
comparator_miyahara_flat.add(gdstk.Label('I_P_AMPLIFY', (-23.28,-6.695), layer=36, texttype=10))

lib.write_gds('comparator_miyahara_flat.gds')
